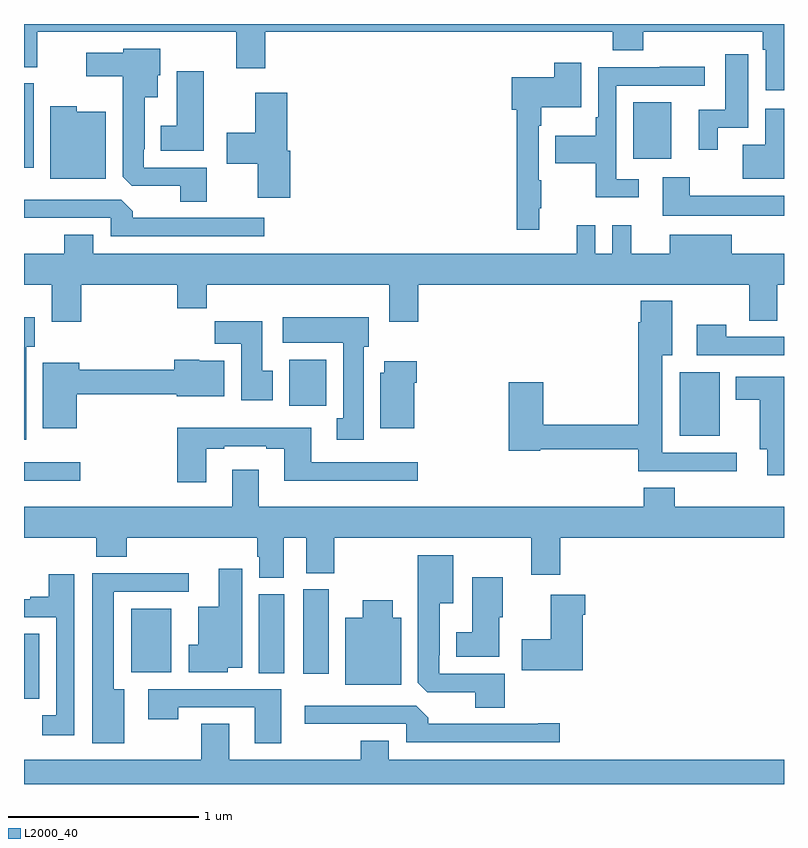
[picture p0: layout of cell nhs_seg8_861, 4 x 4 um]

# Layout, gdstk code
import gdstk
lib = gdstk.Library(unit=1e-6, precision=1e-09)
def R(c, l, rs):  # rectangles x0, y0, x1, y1
    for r in rs: c.add(gdstk.rectangle(r[:2], r[2:], *l))
def P(c, l, *ps):  # polygons
    for p in ps: c.add(gdstk.Polygon(p, *l))
L2000_40 = (2000, 40)

nhs_seg8_861 = lib.new_cell('nhs_seg8_861')
R(nhs_seg8_861, L2000_40, [(167,1086.349,167.08,1086.692), (168.47,1086.48,168.604,1086.924), (168.236,1086.484,168.37,1086.9), (167.564,1086.488,167.776,1086.823), (167,1087.496,167.296,1087.593), (170.45,1087.733,170.662,1088.068), (168.395,1087.892,168.592,1088.134), (167,1089.144,167.05,1089.588), (170.207,1089.191,170.407,1089.487)])
P(nhs_seg8_861, L2000_40, [(171,1089.9),(167,1089.9),(167,1089.673),(167.071,1089.673),(167.071,1089.86),(168.116,1089.86),(168.116,1089.666),(168.269,1089.666),(168.269,1089.86),(170.099,1089.86),(170.099,1089.761),(170.259,1089.761),(170.259,1089.86),(170.889,1089.86),(170.889,1089.764),(170.904,1089.764),(170.904,1089.552),(171,1089.552)],
  [(167.962,1089.144),(167.631,1089.144),(167.631,1089.241),(167.635,1089.241),(167.635,1089.515),(167.704,1089.515),(167.704,1089.63),(167.716,1089.63),(167.716,1089.769),(167.523,1089.769),(167.523,1089.748),(167.328,1089.748),(167.328,1089.626),(167.519,1089.626),(167.519,1089.097),(167.568,1089.048),(167.822,1089.048),(167.822,1088.965),(167.962,1088.965)],
  [(170.65,1089.354),(170.812,1089.354),(170.812,1089.629),(170.811,1089.629),(170.811,1089.742),(170.69,1089.742),(170.69,1089.45),(170.552,1089.45),(170.552,1089.237),(170.65,1089.237)],
  [(169.712,1088.929),(169.723,1088.929),(169.723,1089.077),(169.71,1089.077),(169.71,1089.365),(169.723,1089.365),(169.723,1089.461),(169.933,1089.461),(169.933,1089.697),(169.79,1089.697),(169.79,1089.619),(169.568,1089.619),(169.568,1089.449),(169.594,1089.449),(169.594,1088.817),(169.712,1088.817)],
  [(170.236,1089.084),(170.118,1089.084),(170.118,1089.576),(170.584,1089.576),(170.584,1089.674),(170.347,1089.674),(170.347,1089.672),(170.022,1089.672),(170.022,1089.409),(170.01,1089.409),(170.01,1089.313),(169.795,1089.313),(169.795,1089.166),(170.01,1089.166),(170.01,1088.987),(170.236,1088.987)],
  [(167.947,1089.652),(167.804,1089.652),(167.804,1089.364),(167.72,1089.364),(167.72,1089.233),(167.947,1089.233)],
  [(168.401,1089.233),(168.386,1089.233),(168.386,1089.538),(168.218,1089.538),(168.218,1089.327),(168.066,1089.327),(168.066,1089.164),(168.23,1089.164),(168.23,1088.985),(168.401,1088.985)],
  [(167.431,1089.439),(167.277,1089.439),(167.277,1089.466),(167.138,1089.466),(167.138,1089.086),(167.431,1089.086)],
  [(171,1089.454),(170.9,1089.454),(170.9,1089.265),(170.783,1089.265),(170.783,1089.086),(171,1089.086)],
  [(171,1088.995),(170.503,1088.995),(170.503,1089.094),(170.363,1089.094),(170.363,1088.891),(171,1088.891)],
  [(168.265,1088.88),(167.573,1088.88),(167.573,1088.914),(167.511,1088.976),(167,1088.976),(167,1088.88),(167.457,1088.88),(167.457,1088.784),(168.265,1088.784)],
  [(167.3,1088.528),(167.807,1088.528),(167.807,1088.404),(167.963,1088.404),(167.963,1088.528),(168.923,1088.528),(168.923,1088.334),(169.076,1088.334),(169.076,1088.528),(170.818,1088.528),(170.818,1088.338),(170.965,1088.338),(170.965,1088.528),(171,1088.528),(171,1088.692),(170.725,1088.692),(170.725,1088.791),(170.399,1088.791),(170.399,1088.692),(170.195,1088.692),(170.195,1088.842),(170.097,1088.842),(170.097,1088.692),(170.007,1088.692),(170.007,1088.842),(169.91,1088.842),(169.91,1088.692),(167.365,1088.692),(167.365,1088.791),(167.213,1088.791),(167.213,1088.692),(167,1088.692),(167,1088.528),(167.147,1088.528),(167.147,1088.334),(167.3,1088.334)],
  [(170.752,1087.644),(170.359,1087.644),(170.359,1088.156),(170.413,1088.156),(170.413,1088.443),(170.246,1088.443),(170.246,1088.33),(170.234,1088.33),(170.234,1087.79),(169.733,1087.79),(169.733,1088.014),(169.55,1088.014),(169.55,1087.654),(169.716,1087.654),(169.716,1087.662),(170.234,1087.662),(170.234,1087.547),(170.752,1087.547)],
  [(168.787,1088.202),(168.814,1088.202),(168.814,1088.356),(168.363,1088.356),(168.363,1088.222),(168.68,1088.222),(168.68,1087.826),(168.647,1087.826),(168.647,1087.713),(168.787,1087.713)],
  [(167.011,1088.202),(167.056,1088.202),(167.056,1088.356),(167,1088.356),(167,1087.713),(167.011,1087.713)],
  [(168.31,1088.076),(168.253,1088.076),(168.253,1088.335),(168.004,1088.335),(168.004,1088.216),(168.143,1088.216),(168.143,1087.92),(168.31,1087.92)],
  [(171,1088.253),(170.697,1088.253),(170.697,1088.317),(170.541,1088.317),(170.541,1088.157),(171,1088.157)],
  [(167.278,1087.951),(167.804,1087.951),(167.804,1087.94),(168.055,1087.94),(168.055,1088.128),(167.922,1088.128),(167.922,1088.134),(167.792,1088.134),(167.792,1088.08),(167.291,1088.08),(167.291,1088.116),(167.099,1088.116),(167.099,1087.772),(167.278,1087.772)],
  [(169.054,1088.012),(169.067,1088.012),(169.067,1088.125),(168.896,1088.125),(168.896,1088.064),(168.875,1088.064),(168.875,1087.772),(169.054,1087.772)],
  [(171,1088.044),(170.747,1088.044),(170.747,1087.922),(170.873,1087.922),(170.873,1087.661),(170.912,1087.661),(170.912,1087.524),(171,1087.524)],
  [(167.959,1087.665),(168.055,1087.665),(168.055,1087.677),(168.275,1087.677),(168.275,1087.665),(168.371,1087.665),(168.371,1087.496),(169.072,1087.496),(169.072,1087.593),(168.511,1087.593),(168.511,1087.774),(167.807,1087.774),(167.807,1087.488),(167.959,1087.488)],
  [(168.367,1087.196),(168.485,1087.196),(168.485,1087.009),(168.633,1087.009),(168.633,1087.196),(169.67,1087.196),(169.67,1087.002),(169.823,1087.002),(169.823,1087.196),(171,1087.196),(171,1087.36),(170.426,1087.36),(170.426,1087.459),(170.261,1087.459),(170.261,1087.36),(168.235,1087.36),(168.235,1087.555),(168.095,1087.555),(168.095,1087.36),(167,1087.36),(167,1087.196),(167.38,1087.196),(167.38,1087.097),(167.54,1087.097),(167.54,1087.196),(168.227,1087.196),(168.227,1087.095),(168.239,1087.095),(168.239,1086.985),(168.367,1086.985)],
  [(169.529,1086.48),(169.185,1086.48),(169.185,1086.577),(169.189,1086.577),(169.189,1086.851),(169.258,1086.851),(169.258,1087.105),(169.073,1087.105),(169.073,1086.433),(169.122,1086.384),(169.376,1086.384),(169.376,1086.301),(169.529,1086.301)],
  [(168.072,1086.512),(168.148,1086.512),(168.148,1087.033),(168.026,1087.033),(168.026,1086.832),(167.918,1086.832),(167.918,1086.634),(167.867,1086.634),(167.867,1086.488),(168.072,1086.488)],
  [(167.527,1086.4),(167.473,1086.4),(167.473,1086.912),(167.866,1086.912),(167.866,1087.01),(167.36,1087.01),(167.36,1086.114),(167.527,1086.114)],
  [(167.265,1087.003),(167.129,1087.003),(167.129,1086.886),(167.033,1086.886),(167.033,1086.873),(167,1086.873),(167,1086.777),(167.169,1086.777),(167.169,1086.261),(167.097,1086.261),(167.097,1086.156),(167.265,1086.156)],
  [(169.501,1086.777),(169.519,1086.777),(169.519,1086.988),(169.358,1086.988),(169.358,1086.7),(169.274,1086.7),(169.274,1086.569),(169.501,1086.569)],
  [(169.942,1086.791),(169.955,1086.791),(169.955,1086.895),(169.772,1086.895),(169.772,1086.663),(169.62,1086.663),(169.62,1086.5),(169.942,1086.5)],
  [(168.985,1086.775),(168.94,1086.775),(168.94,1086.868),(168.782,1086.868),(168.782,1086.775),(168.692,1086.775),(168.692,1086.422),(168.985,1086.422)],
  [(168.355,1086.399),(167.655,1086.399),(167.655,1086.24),(167.811,1086.24),(167.811,1086.303),(168.215,1086.303),(168.215,1086.114),(168.355,1086.114)],
  [(169.819,1086.221),(169.706,1086.221),(169.706,1086.216),(169.127,1086.216),(169.127,1086.25),(169.065,1086.312),(168.477,1086.312),(168.477,1086.216),(169.011,1086.216),(169.011,1086.12),(169.819,1086.12)],
  [(171,1086.028),(168.919,1086.028),(168.919,1086.127),(168.772,1086.127),(168.772,1086.028),(168.079,1086.028),(168.079,1086.218),(167.932,1086.218),(167.932,1086.028),(167,1086.028),(167,1085.9),(171,1085.9)])

lib.write_gds('nhs_seg8_861.gds')
